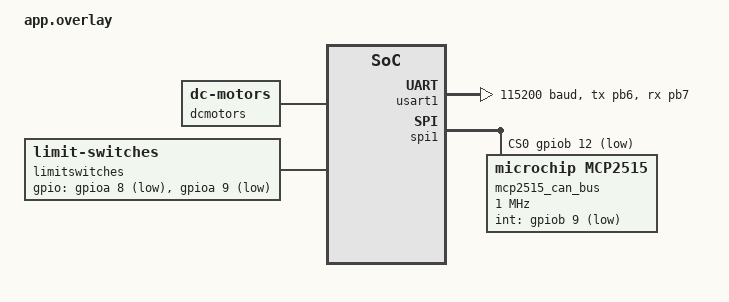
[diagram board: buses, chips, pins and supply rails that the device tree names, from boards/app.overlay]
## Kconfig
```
mainmenu "Controller Area Network sample application"

config LOOPBACK_MODE
	bool "Loopback LOOPBACK_MODE"
	default n
	help
	  Set the controller to loopback mode and enables a testing tx_thread which send expected can frames.
	  This allows testing without a second board.

source "Kconfig.zephyr"
```

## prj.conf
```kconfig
CONFIG_GPIO=y
CONFIG_CAN=y

CONFIG_CAN_INIT_PRIORITY=80
CONFIG_CAN_MAX_FILTER=5
CONFIG_LOOPBACK_MODE=n

CONFIG_KYVERNITIS=y
CONFIG_LOG=y
CONFIG_CANARD=y
```

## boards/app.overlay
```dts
/ {
	dcmotors {
		compatible = "dc-motors";
		dc_motor_1: motor_1 {
			label = "Motor_1";
			gpios = <&gpiob 8 GPIO_ACTIVE_HIGH>,
				<&gpioa 0 GPIO_ACTIVE_HIGH>;
		};
	

		 dc_motor_2: motor_2 {
		 	label = "Motor_2";
		 	gpios = <&gpiob 4 GPIO_ACTIVE_HIGH>,
		 		 <&gpioa 1 GPIO_ACTIVE_HIGH>;
		 };
		 dc_motor_3: motor_3 {
		 	label = "Motor_3";
		 	gpios = <&gpiob 10 GPIO_ACTIVE_HIGH>,
		 	         <&gpioa 3 GPIO_ACTIVE_HIGH>;
		 };
		 dc_motor_4: motor_4 {
		 	label = "Motor_4";
		 	gpios = <&gpioa 2 GPIO_ACTIVE_HIGH>,
		 	 	 <&gpioa 10 GPIO_ACTIVE_HIGH>;
		 };

	};

	limitswitches: limitswitches {
		compatible = "limit-switches";
		gpios = <&gpioa 8 GPIO_ACTIVE_LOW>,
			<&gpioa 9 GPIO_ACTIVE_LOW>;
	};

	aliases {
		motor-1 = &dc_motor_1;
	 	motor-2 = &dc_motor_2;
	 	motor-3 = &dc_motor_3;
	 	motor-4 = &dc_motor_4;
	};

	chosen {
		zephyr,canbus = &mcp2515_can_bus;
	};
};

&usart1 {
	pinctrl-0 = <&usart1_tx_pb6 &usart1_rx_pb7>;
	pinctrl-names= "default";
	status = "okay";
	current-speed = <115200>;
};

&spi1 {
	status = "okay";
	cs-gpios = <&gpiob 12 GPIO_ACTIVE_LOW>;	
	mcp2515_can_bus: can@0 {
		compatible = "microchip,mcp2515";
		spi-max-frequency = <1000000>;
		int-gpios = <&gpiob 9 GPIO_ACTIVE_LOW>; /* B9 */
		status = "okay";
		reg = <0x0>;
		osc-freq = <8000000>;
		bus-speed = <800000>;
		sjw = <1>;
		sample-point = <875>;

		can-transceiver {
			max-bitrate = <1000000>;
		};
	};
};
```

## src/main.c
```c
/*
 * Source file for Astro Assist Application
 */


#include <zephyr/device.h>
#include <zephyr/devicetree.h>
#include <zephyr/drivers/gpio.h>
#include <zephyr/drivers/can.h>
#include <zephyr/kernel.h>
#include <zephyr/logging/log.h>
#include <app_version.h>

#include <kycan.h>
#include <kyvernitis.h>

#define L298N_COUNT 4
#define L298N_LIM_COUNT 2

LOG_MODULE_REGISTER(main, CONFIG_LOG_DEFAULT_LEVEL);
CAN_MSGQ_DEFINE(rx_msgq, 10);

#ifdef CONFIG_LOOPBACK_MODE

#define TX_THREAD_STACK_SIZE 512
#define TX_THREAD_PRIORITY 2

K_THREAD_STACK_DEFINE(tx_thread_stack, TX_THREAD_STACK_SIZE);

#endif

/* DT spec for led*/
static const struct gpio_dt_spec led = GPIO_DT_SPEC_GET(DT_ALIAS(led0), gpios);

/* DT spec for limit switches */
const struct gpio_dt_spec switches[L298N_LIM_COUNT] = {
		GPIO_DT_SPEC_GET_BY_IDX(
					DT_NODELABEL(limitswitches),
                                        gpios,
					0),
		GPIO_DT_SPEC_GET_BY_IDX(
					DT_NODELABEL(limitswitches),
                                        gpios,
					1)
};


/* DT spec for all instances of motors controlled by l298n*/
const struct dc_motor l298n[L298N_COUNT] = {
	{
		.input_1 = GPIO_DT_SPEC_GET_BY_IDX(DT_ALIAS(motor_1), gpios, 0),
		.input_2 = GPIO_DT_SPEC_GET_BY_IDX(DT_ALIAS(motor_1), gpios, 1)
	},
	{
		.input_1 = GPIO_DT_SPEC_GET_BY_IDX(DT_ALIAS(motor_2), gpios, 0),
		.input_2 = GPIO_DT_SPEC_GET_BY_IDX(DT_ALIAS(motor_2), gpios, 1),
	},
	{
		.input_1 = GPIO_DT_SPEC_GET_BY_IDX(DT_ALIAS(motor_3), gpios, 0),
		.input_2 = GPIO_DT_SPEC_GET_BY_IDX(DT_ALIAS(motor_3), gpios, 1)
	},
	{
		.input_1 = GPIO_DT_SPEC_GET_BY_IDX(DT_ALIAS(motor_4), gpios, 0),
		.input_2 = GPIO_DT_SPEC_GET_BY_IDX(DT_ALIAS(motor_4), gpios, 1)
	}
};

/* DT spec for can module*/
const struct device *const can_dev = DEVICE_DT_GET(DT_CHOSEN(zephyr_canbus));

/* Can filter for Astro Assist*/
const struct can_filter astro_assist_filter = {
	.flags = CAN_FILTER_DATA | CAN_FILTER_IDE,
	.id = ASTRO_ASSIST_ID,
	.mask = CAN_EXT_ID_MASK
};

struct can_frame astro_assist_rx_frame;


#ifdef CONFIG_LOOPBACK_MODE
	
struct can_frame astro_assist_tx_frame = {
	.flags = CAN_FRAME_IDE,
	.id = ASTRO_ASSIST_ID,
	.dlc = 6,
	.data[4] = ACTUATOR_COMMAND_ID,
};

struct k_thread tx_thread_data;

void tx_thread(void *unused1, void *unused2, void *unused3)
{
	while (1) {
		for(size_t i = 0u; i < ARRAY_SIZE(l298n); i++) {
			astro_assist_tx_frame.data[5] = i + L298N_BASE_ID;
			astro_assist_tx_frame.data_32[0] = DC_MOTOR_FORWARD;
			can_send(can_dev, &astro_assist_tx_frame, K_MSEC(100), NULL, NULL);
		}

		k_sleep(K_SECONDS(1));

		for(size_t i = 0u; i < ARRAY_SIZE(l298n); i++) {
			astro_assist_tx_frame.data[5] = i + L298N_BASE_ID;
			astro_assist_tx_frame.data_32[0] = DC_MOTOR_STOP;
			can_send(can_dev, &astro_assist_tx_frame, K_MSEC(100), NULL, NULL);
		}

		k_sleep(K_SECONDS(1));

		for(size_t i = 0u; i < ARRAY_SIZE(l298n); i++) {
			astro_assist_tx_frame.data[5] = i + L298N_BASE_ID;
			astro_assist_tx_frame.data_32[0] = DC_MOTOR_BACKWARD;
			can_send(can_dev, &astro_assist_tx_frame, K_MSEC(100), NULL, NULL);
		}

		k_sleep(K_SECONDS(1));

		for(size_t i = 0u; i < ARRAY_SIZE(l298n); i++) {
			astro_assist_tx_frame.data[5] = i + L298N_BASE_ID;
			astro_assist_tx_frame.data_32[0] = DC_MOTOR_STOP;
			can_send(can_dev, &astro_assist_tx_frame, K_MSEC(100), NULL, NULL);
		}

		k_sleep(K_SECONDS(1));
	}
	
	return;
}

#endif

int main()
{
	printk("\nAstro-Assist: v%s\n\n", APP_VERSION_STRING);

	int err;

	/* Device ready checks */
	
	if (!device_is_ready(can_dev)) {
		LOG_ERR("CAN: Device %s not ready.\n", can_dev->name);
		return 0;
	}
	
	for (size_t i = 0U; i < ARRAY_SIZE(switches); i++) {
		if (!gpio_is_ready_dt(&(switches[i]))) {
			LOG_ERR("Limit Switch: %d is not ready\n", i + L298N_BASE_ID);
			return 0;
		}
	}

	for (size_t i = 0U; i < ARRAY_SIZE(l298n); i++) {
		if (!gpio_is_ready_dt(&(l298n[i].input_1))) {
			LOG_ERR("DC-motor %d: input %d is not ready\n", i,
							l298n[i].input_1.pin);
			return 0;
		}
		if (!gpio_is_ready_dt(&(l298n[i].input_2))) {
			LOG_ERR("DC-motor %d: input %d is not ready\n", i,
							l298n[i].input_2.pin);
			return 0;
		}
	}

	if (!gpio_is_ready_dt(&led)){
		LOG_ERR("Error: Led not ready\n");
		return 0;
	}

	/* Start up configurations */
	
	for (size_t i = 0U; i < ARRAY_SIZE(switches); i++) {
		err = gpio_pin_configure_dt(&switches[i], GPIO_INPUT);
		if (err != 0) {
			LOG_ERR("Error %d: failed to configure %s pin %d\n",
					err, switches[i].port->name, switches[i].pin);
			return 0;
		}
	}
	
	for (size_t i = 0U; i < ARRAY_SIZE(l298n); i++) {
		if (gpio_pin_configure_dt(&(l298n[i].input_1), GPIO_OUTPUT_INACTIVE)) {
			LOG_ERR("Error : LED not configured\n");
			return 0;
		}
		if (gpio_pin_configure_dt(&(l298n[i].input_2), GPIO_OUTPUT_INACTIVE)) {
			LOG_ERR("Error : LED not configured\n");
			return 0;
		}
	}	

#ifdef CONFIG_LOOPBACK_MODE

	k_tid_t tx_tid;

	if (can_set_mode(can_dev, CAN_MODE_LOOPBACK)) {
		LOG_ERR("Error setting CAN mode");
		return 0;
	}
	
	tx_tid = k_thread_create(&tx_thread_data, tx_thread_stack,
				 K_THREAD_STACK_SIZEOF(tx_thread_stack),
				 tx_thread, NULL, NULL, NULL,
				 TX_THREAD_PRIORITY, 0, K_NO_WAIT);

	if (!tx_tid) {
		LOG_ERR("ERROR spawning tx thread\n");
	}

#endif

	if (can_start(can_dev)) {
		LOG_ERR("Error starting CAN controller.\n");
		return 0;
	}
	
	
	int filter_id = can_add_rx_filter_msgq(can_dev, &rx_msgq, &astro_assist_filter);
	if (filter_id < 0) {
		LOG_ERR("Unable to add rx msgq [%d]", filter_id);
		return 0;
	}


	if (gpio_pin_configure_dt(&led, GPIO_OUTPUT_ACTIVE) < 0)
	{
		LOG_ERR("Error: Led not configured\n");
		return 0;
	}	

	LOG_INF("Initialization completed successfully\n");

	while (true)
	{
#ifndef CONFIG_LOOPBACK_MODE
		if(k_msgq_get(&rx_msgq, &astro_assist_rx_frame,  K_MSEC(1000))) {
#else
		if(k_msgq_get(&rx_msgq, &astro_assist_rx_frame, K_FOREVER)) {
#endif
			LOG_ERR("Message Recieve Timeout!!");
			for(size_t i = 0U; i < ARRAY_SIZE(l298n); i++) {
				err = dc_motor_write(&l298n[i], DC_MOTOR_STOP);
				if (err) {
					return 0;
				}

			}
			LOG_INF("Stopped all motors");
			continue;
		}
		struct can_frame frame = astro_assist_rx_frame;

		printk("CAN frame ID: %x  Data: %d %d %d\n", frame.id, frame.data_32[0], frame.data[4], frame.data[5]);

		if(frame.dlc != 6) {
			//just handling motor commands for now
			LOG_ERR("Unknown Frame Received\n");
			continue;
		}

		switch (frame.data[4]) {
		
		case ACTUATOR_COMMAND_ID:
			if (frame.data[5] < L298N_BASE_ID + L298N_LIM_COUNT) {
				// Consider from 25 to 26
				int motor_no = frame.data[5] - L298N_BASE_ID;
				err = dc_motor_write_lim(&l298n[motor_no],
							frame.data_32[0],
							&switches[motor_no]);
				if (err) {
					return 0;
				}
			}	
			else if (frame.data[5] < L298N_BASE_ID + L298N_COUNT) {
				// consider from 25 to 28	
				err = dc_motor_write(&l298n[frame.data[5] - L298N_BASE_ID],
							frame.data_32[0]);
				
				if (err) {
					return 0;
				}
			}
			break;
		}
		gpio_pin_toggle_dt(&led);
	}
}
```
